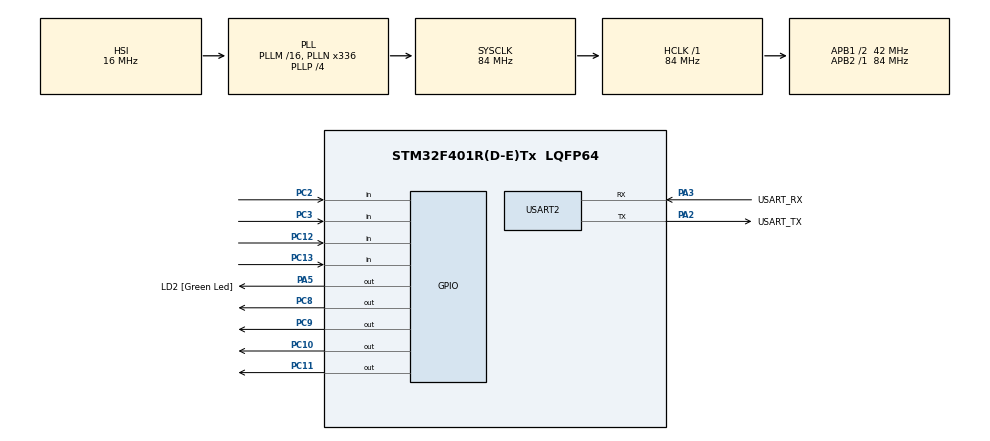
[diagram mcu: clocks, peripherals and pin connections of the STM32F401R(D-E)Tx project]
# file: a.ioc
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Mcu.Family=STM32F4
Mcu.Name=STM32F401R(D-E)Tx
Mcu.Package=LQFP64
NVIC.PriorityGroup=NVIC_PRIORITYGROUP_0
NVIC.TIM2_IRQn=true\:0\:0\:false\:false\:true\:true\:true\:true
PA13.GPIO_Label=TMS
PA13.Mode=Serial_Wire
PA13.Signal=SYS_JTMS-SWDIO
PA14.GPIO_Label=TCK
PA14.Mode=Serial_Wire
PA14.Signal=SYS_JTCK-SWCLK
PA2.GPIO_Label=USART_TX
PA2.GPIO_Mode=GPIO_MODE_AF_PP
PA2.GPIO_PuPd=GPIO_NOPULL
PA2.GPIO_Speed=GPIO_SPEED_FREQ_LOW
PA2.Mode=Asynchronous
PA2.Signal=USART2_TX
PA3.GPIO_Label=USART_RX
PA3.GPIO_Mode=GPIO_MODE_AF_PP
PA3.GPIO_PuPd=GPIO_NOPULL
PA3.GPIO_Speed=GPIO_SPEED_FREQ_LOW
PA3.Mode=Asynchronous
PA3.Signal=USART2_RX
PA5.GPIO_Label=LD2 [Green Led]
PA5.GPIO_Mode=GPIO_MODE_OUTPUT_PP
PA5.GPIO_PuPd=GPIO_NOPULL
PA5.GPIO_Speed=GPIO_SPEED_FREQ_LOW
PA5.Signal=GPIO_Output
PB3.GPIO_Label=SWO
PB3.Signal=SYS_JTDO-SWO
PC10.Signal=GPIO_Output
PC11.Signal=GPIO_Output
PC12.Signal=GPIO_Input
PC13-ANTI_TAMP.Signal=GPIO_Input
PC14-OSC32_IN.Mode=LSE-External-Oscillator
PC14-OSC32_IN.Signal=RCC_OSC32_IN
PC15-OSC32_OUT.Mode=LSE-External-Oscillator
PC15-OSC32_OUT.Signal=RCC_OSC32_OUT
PC2.Signal=GPIO_Input
PC3.Signal=GPIO_Input
PC8.Signal=GPIO_Output
PC9.Signal=GPIO_Output
PH0\ -\ OSC_IN.Mode=HSE-External-Clock-Source
PH0\ -\ OSC_IN.Signal=RCC_OSC_IN
PH1\ -\ OSC_OUT.Mode=HSE-External-Clock-Source
PH1\ -\ OSC_OUT.Signal=RCC_OSC_OUT
ProjectManager.HeapSize=0x200
ProjectManager.StackSize=0x400
ProjectManager.TargetToolchain=STM32CubeIDE
RCC.48MHZClocksFreq_Value=48000000
RCC.AHBFreq_Value=84000000
RCC.APB1CLKDivider=RCC_HCLK_DIV2
RCC.APB1Freq_Value=42000000
RCC.APB1TimFreq_Value=84000000
RCC.APB2Freq_Value=84000000
RCC.APB2TimFreq_Value=84000000
RCC.CortexFreq_Value=84000000
RCC.HCLKFreq_Value=84000000
RCC.HSE_VALUE=8000000
RCC.HSI_VALUE=16000000
RCC.PLLN=336
RCC.PLLP=RCC_PLLP_DIV4
RCC.PLLQ=7
RCC.SYSCLKFreq_VALUE=84000000
RCC.SYSCLKSource=RCC_SYSCLKSOURCE_PLLCLK
RCC.VCOOutputFreq_Value=336000000
TIM2.ClockDivision=TIM_CLOCKDIVISION_DIV1
TIM2.Period=50-1
TIM2.Prescaler=8400-1
USART2.VirtualMode=VM_ASYNC
VP_TIM2_VS_ClockSourceINT.Mode=Internal
board=NUCLEO-F401RE

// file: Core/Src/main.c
/* USER CODE BEGIN Header */
/**
  ******************************************************************************
  * @file           : main.c
  * @brief          : Main program body
  ******************************************************************************
  * @attention
  *
  * Copyright (c) 2023 STMicroelectronics.
  * All rights reserved.
  *
  * This software is licensed under terms that can be found in the LICENSE file
  * in the root directory of this software component.
  * If no LICENSE file comes with this software, it is provided AS-IS.
  *
  ******************************************************************************
  */
/* USER CODE END Header */
#include "main.h"

/* USER CODE BEGIN Includes */
#include <stdio.h>
/* USER CODE END Includes */

TIM_HandleTypeDef htim2;

UART_HandleTypeDef huart2;

/* USER CODE BEGIN PV */
uint16_t rows[] = {GPIO_PIN_3, GPIO_PIN_2, GPIO_PIN_13, GPIO_PIN_12};
uint16_t cols[] = {GPIO_PIN_11, GPIO_PIN_10, GPIO_PIN_9, GPIO_PIN_8};
char vals[] = {'F', 'B', '7', '3', 'E', 'A', '6', '2', 'D', '9', '5', '1', 'C', '8', '4', '0'};
uint8_t keys[16];
uint8_t ack[16];

char buffer[100];
int len;
int col_idx = 0;
/* USER CODE END PV */

void SystemClock_Config(void);
static void MX_GPIO_Init(void);
static void MX_USART2_UART_Init(void);
static void MX_TIM2_Init(void);

int main(void)
{

  /* MCU Configuration--------------------------------------------------------*/

  /* Reset of all peripherals, Initializes the Flash interface and the Systick. */
  HAL_Init();

  /* Configure the system clock */
  SystemClock_Config();

  /* Initialize all configured peripherals */
  MX_GPIO_Init();
  MX_USART2_UART_Init();
  MX_TIM2_Init();
  /* USER CODE BEGIN 2 */
  HAL_TIM_Base_Start_IT(&htim2);
  /* USER CODE END 2 */

  /* Infinite loop */
  /* USER CODE BEGIN WHILE */
  while (1)
  {
	for (int i = 0; i < 16; i++) {
		if (keys[i] == 1) {
			if (ack[i] == 0) {
				len = sprintf(buffer, "%c\n\r", vals[i]);
				HAL_UART_Transmit(&huart2, (const uint8_t *) buffer, len, HAL_MAX_DELAY);
				ack[i] = 1;
			}
		} else
			ack[i] = 0;
	}
    /* USER CODE END WHILE */

  }
}

void SystemClock_Config(void)
{
  RCC_OscInitTypeDef RCC_OscInitStruct = {0};
  RCC_ClkInitTypeDef RCC_ClkInitStruct = {0};

  /** Configure the main internal regulator output voltage
  */
  __HAL_RCC_PWR_CLK_ENABLE();
  __HAL_PWR_VOLTAGESCALING_CONFIG(PWR_REGULATOR_VOLTAGE_SCALE2);

  /** Initializes the RCC Oscillators according to the specified parameters
  * in the RCC_OscInitTypeDef structure.
  */
  RCC_OscInitStruct.OscillatorType = RCC_OSCILLATORTYPE_HSI;
  RCC_OscInitStruct.HSIState = RCC_HSI_ON;
  RCC_OscInitStruct.HSICalibrationValue = RCC_HSICALIBRATION_DEFAULT;
  RCC_OscInitStruct.PLL.PLLState = RCC_PLL_ON;
  RCC_OscInitStruct.PLL.PLLSource = RCC_PLLSOURCE_HSI;
  RCC_OscInitStruct.PLL.PLLM = 16;
  RCC_OscInitStruct.PLL.PLLN = 336;
  RCC_OscInitStruct.PLL.PLLP = RCC_PLLP_DIV4;
  RCC_OscInitStruct.PLL.PLLQ = 7;
  if (HAL_RCC_OscConfig(&RCC_OscInitStruct) != HAL_OK)
  {
    Error_Handler();
  }

  /** Initializes the CPU, AHB and APB buses clocks
  */
  RCC_ClkInitStruct.ClockType = RCC_CLOCKTYPE_HCLK|RCC_CLOCKTYPE_SYSCLK
                              |RCC_CLOCKTYPE_PCLK1|RCC_CLOCKTYPE_PCLK2;
  RCC_ClkInitStruct.SYSCLKSource = RCC_SYSCLKSOURCE_PLLCLK;
  RCC_ClkInitStruct.AHBCLKDivider = RCC_SYSCLK_DIV1;
  RCC_ClkInitStruct.APB1CLKDivider = RCC_HCLK_DIV2;
  RCC_ClkInitStruct.APB2CLKDivider = RCC_HCLK_DIV1;

  if (HAL_RCC_ClockConfig(&RCC_ClkInitStruct, FLASH_LATENCY_2) != HAL_OK)
  {
    Error_Handler();
  }
}

static void MX_TIM2_Init(void)
{

  TIM_ClockConfigTypeDef sClockSourceConfig = {0};
  TIM_MasterConfigTypeDef sMasterConfig = {0};

  htim2.Instance = TIM2;
  htim2.Init.Prescaler = 8400-1;
  htim2.Init.CounterMode = TIM_COUNTERMODE_UP;
  htim2.Init.Period = 50-1;
  htim2.Init.ClockDivision = TIM_CLOCKDIVISION_DIV1;
  htim2.Init.AutoReloadPreload = TIM_AUTORELOAD_PRELOAD_DISABLE;
  if (HAL_TIM_Base_Init(&htim2) != HAL_OK)
  {
    Error_Handler();
  }
  sClockSourceConfig.ClockSource = TIM_CLOCKSOURCE_INTERNAL;
  if (HAL_TIM_ConfigClockSource(&htim2, &sClockSourceConfig) != HAL_OK)
  {
    Error_Handler();
  }
  sMasterConfig.MasterOutputTrigger = TIM_TRGO_RESET;
  sMasterConfig.MasterSlaveMode = TIM_MASTERSLAVEMODE_DISABLE;
  if (HAL_TIMEx_MasterConfigSynchronization(&htim2, &sMasterConfig) != HAL_OK)
  {
    Error_Handler();
  }

}

static void MX_USART2_UART_Init(void)
{

  huart2.Instance = USART2;
  huart2.Init.BaudRate = 115200;
  huart2.Init.WordLength = UART_WORDLENGTH_8B;
  huart2.Init.StopBits = UART_STOPBITS_1;
  huart2.Init.Parity = UART_PARITY_NONE;
  huart2.Init.Mode = UART_MODE_TX_RX;
  huart2.Init.HwFlowCtl = UART_HWCONTROL_NONE;
  huart2.Init.OverSampling = UART_OVERSAMPLING_16;
  if (HAL_UART_Init(&huart2) != HAL_OK)
  {
    Error_Handler();
  }

}

static void MX_GPIO_Init(void)
{
  GPIO_InitTypeDef GPIO_InitStruct = {0};

  /* GPIO Ports Clock Enable */
  __HAL_RCC_GPIOC_CLK_ENABLE();
  __HAL_RCC_GPIOH_CLK_ENABLE();
  __HAL_RCC_GPIOA_CLK_ENABLE();
  __HAL_RCC_GPIOB_CLK_ENABLE();

  /*Configure GPIO pin Output Level */
  HAL_GPIO_WritePin(LD2_GPIO_Port, LD2_Pin, GPIO_PIN_RESET);

  /*Configure GPIO pin Output Level */
  HAL_GPIO_WritePin(GPIOC, GPIO_PIN_8|GPIO_PIN_9|GPIO_PIN_10|GPIO_PIN_11, GPIO_PIN_RESET);

  /*Configure GPIO pins : PC13 PC2 PC3 PC12 */
  GPIO_InitStruct.Pin = GPIO_PIN_13|GPIO_PIN_2|GPIO_PIN_3|GPIO_PIN_12;
  GPIO_InitStruct.Mode = GPIO_MODE_INPUT;
  GPIO_InitStruct.Pull = GPIO_NOPULL;
  HAL_GPIO_Init(GPIOC, &GPIO_InitStruct);

  /*Configure GPIO pin : LD2_Pin */
  GPIO_InitStruct.Pin = LD2_Pin;
  GPIO_InitStruct.Mode = GPIO_MODE_OUTPUT_PP;
  GPIO_InitStruct.Pull = GPIO_NOPULL;
  GPIO_InitStruct.Speed = GPIO_SPEED_FREQ_LOW;
  HAL_GPIO_Init(LD2_GPIO_Port, &GPIO_InitStruct);

  /*Configure GPIO pins : PC8 PC9 PC10 PC11 */
  GPIO_InitStruct.Pin = GPIO_PIN_8|GPIO_PIN_9|GPIO_PIN_10|GPIO_PIN_11;
  GPIO_InitStruct.Mode = GPIO_MODE_OUTPUT_PP;
  GPIO_InitStruct.Pull = GPIO_NOPULL;
  GPIO_InitStruct.Speed = GPIO_SPEED_FREQ_LOW;
  HAL_GPIO_Init(GPIOC, &GPIO_InitStruct);

}

/* USER CODE BEGIN 4 */
void HAL_TIM_PeriodElapsedCallback(TIM_HandleTypeDef *htim)
{
	for(int row_idx = 0; row_idx < 4; row_idx++)
	{
		GPIO_PinState rowState = HAL_GPIO_ReadPin(GPIOC, rows[row_idx]);

		keys[4*col_idx+row_idx] = (rowState == GPIO_PIN_RESET)?1:0;
	}

	HAL_GPIO_WritePin(GPIOC, cols[col_idx], GPIO_PIN_RESET);
	if(++col_idx > 3)
		col_idx = 0;
	HAL_GPIO_WritePin(GPIOC, cols[col_idx], GPIO_PIN_SET);
}
/* USER CODE END 4 */

void Error_Handler(void)
{
  __disable_irq();
  while (1)
  {
  }
}
